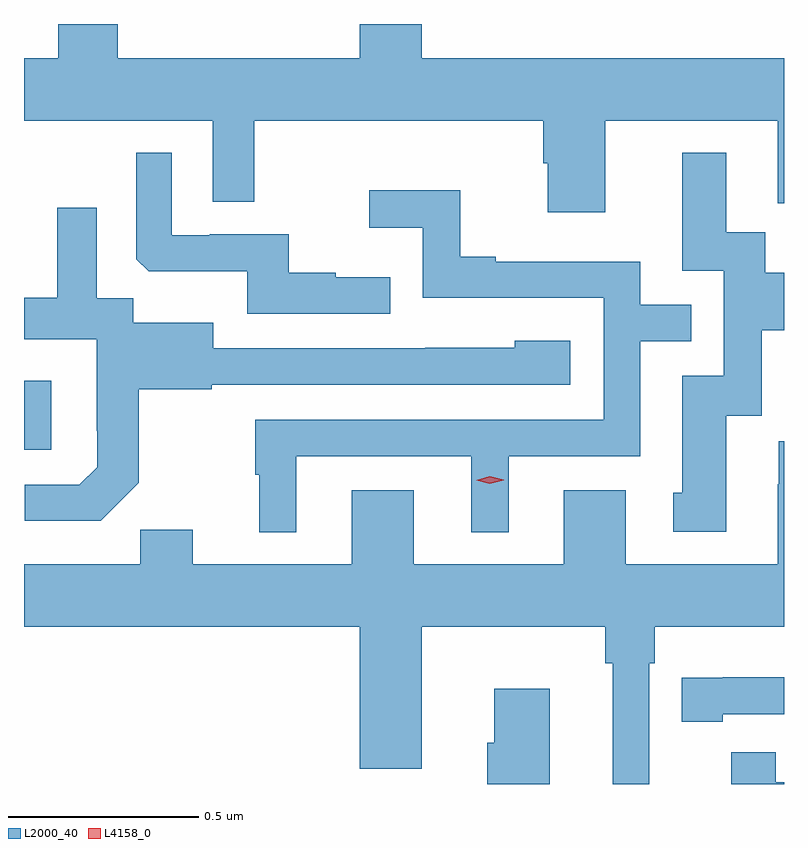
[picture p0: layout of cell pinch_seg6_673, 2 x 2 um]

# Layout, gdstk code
import gdstk
lib = gdstk.Library(unit=1e-6, precision=1e-09)
def R(c, l, rs):  # rectangles x0, y0, x1, y1
    for r in rs: c.add(gdstk.rectangle(r[:2], r[2:], *l))
def P(c, l, *ps):  # polygons
    for p in ps: c.add(gdstk.Polygon(p, *l))
L2000_40 = (2000, 40)
L4158_0 = (4158, 0)

pinch_seg6_673 = lib.new_cell('pinch_seg6_673')
R(pinch_seg6_673, L2000_40, [(415.873,933.15,415.945,933.331)])
P(pinch_seg6_673, L2000_40, [(417.403,934.016),(417.857,934.016),(417.857,933.798),(417.873,933.798),(417.873,934.18),(416.92,934.18),(416.92,934.27),(416.756,934.27),(416.756,934.18),(416.12,934.18),(416.12,934.27),(415.963,934.27),(415.963,934.18),(415.873,934.18),(415.873,934.016),(416.37,934.016),(416.37,933.802),(416.479,933.802),(416.479,934.016),(417.239,934.016),(417.239,933.903),(417.251,933.903),(417.251,933.774),(417.403,933.774)],
  [(417.721,933.239),(417.814,933.239),(417.814,933.464),(417.873,933.464),(417.873,933.616),(417.823,933.616),(417.823,933.722),(417.721,933.722),(417.721,933.931),(417.605,933.931),(417.605,933.621),(417.714,933.621),(417.714,933.345),(417.605,933.345),(417.605,933.036),(417.581,933.036),(417.581,932.934),(417.721,932.934)],
  [(416.837,933.604),(416.693,933.604),(416.693,933.616),(416.57,933.616),(416.57,933.717),(416.362,933.717),(416.362,933.714),(416.262,933.714),(416.262,933.931),(416.169,933.931),(416.169,933.651),(416.201,933.62),(416.46,933.62),(416.46,933.507),(416.837,933.507)],
  [(416.59,933.132),(417.05,933.132),(417.05,932.933),(417.148,932.933),(417.148,933.132),(417.495,933.132),(417.495,933.435),(417.629,933.435),(417.629,933.531),(417.495,933.531),(417.495,933.645),(417.115,933.645),(417.115,933.658),(417.021,933.658),(417.021,933.833),(416.781,933.833),(416.781,933.734),(416.922,933.734),(416.922,933.549),(417.399,933.549),(417.399,933.228),(416.481,933.228),(416.481,933.084),(416.492,933.084),(416.492,932.933),(416.59,932.933)],
  [(416.175,933.063),(416.175,933.309),(416.367,933.309),(416.367,933.321),(417.31,933.321),(417.31,933.436),(417.165,933.436),(417.165,933.418),(416.929,933.418),(416.929,933.417),(416.371,933.417),(416.371,933.484),(416.16,933.484),(416.16,933.548),(416.065,933.548),(416.065,933.787),(415.961,933.787),(415.961,933.55),(415.873,933.55),(415.873,933.44),(416.064,933.44),(416.064,933.199),(416.066,933.199),(416.066,933.104),(416.019,933.057),(415.875,933.057),(415.875,932.963),(416.075,932.963)],
  [(417.519,932.588),(417.533,932.588),(417.533,932.684),(417.873,932.684),(417.873,933.172),(417.859,933.172),(417.859,933.059),(417.857,933.059),(417.857,932.848),(417.457,932.848),(417.457,933.043),(417.293,933.043),(417.293,932.848),(416.899,932.848),(416.899,933.043),(416.735,933.043),(416.735,932.848),(416.317,932.848),(416.317,932.939),(416.179,932.939),(416.179,932.848),(415.873,932.848),(415.873,932.684),(416.756,932.684),(416.756,932.31),(416.92,932.31),(416.92,932.684),(417.403,932.684),(417.403,932.588),(417.422,932.588),(417.422,932.27),(417.519,932.27)],
  [(417.712,932.454),(417.873,932.454),(417.873,932.551),(417.712,932.551),(417.712,932.55),(417.604,932.55),(417.604,932.434),(417.712,932.434)],
  [(417.256,932.521),(417.11,932.521),(417.11,932.379),(417.092,932.379),(417.092,932.27),(417.256,932.27)],
  [(417.873,932.274),(417.851,932.274),(417.851,932.353),(417.734,932.353),(417.734,932.27),(417.873,932.27)])
P(pinch_seg6_673, L4158_0, [(417.099,933.06),(417.063,933.069),(417.063,933.069),(417.063,933.069),(417.099,933.08),(417.135,933.071),(417.135,933.071),(417.135,933.07)])

lib.write_gds('pinch_seg6_673.gds')
